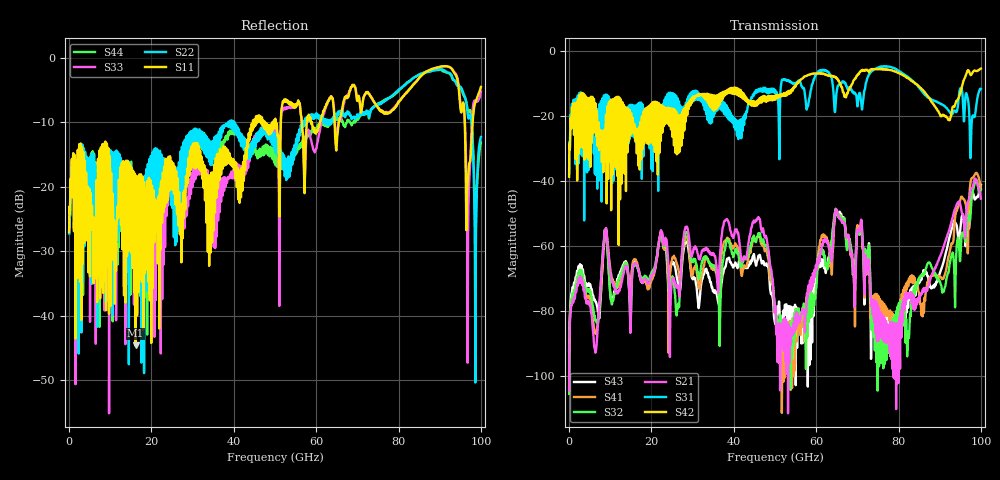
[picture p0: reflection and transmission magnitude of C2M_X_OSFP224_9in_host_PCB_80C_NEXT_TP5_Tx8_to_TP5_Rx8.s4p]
# GHz S RI R 45
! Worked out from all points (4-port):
!   4000 points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, 25 MHz to 100 GHz, reference 45 ohm
!   strongest paths, dB at 25 MHz, 25.02 GHz, 50.02 GHz, 75.03 GHz, 100 GHz:
!     S42: -38.7, -19.7, -14.0, -5.6, -5.4
!     S31: -37.8, -15.4, -12.1, -5.0, -11.6
!     S21: -104.6, -70.9, -79.9, -83.3, -45.4
!     S32: -105.6, -69.9, -80.6, -82.1, -42.7
!     S41: -101.0, -64.1, -80.0, -77.6, -42.4
!     S43: -92.4, -65.3, -84.0, -78.9, -41.2
!   lowest |S11| = -44.6 dB at 16.15 GHz (marker M1), VSWR 1.01, Z = 44.5 - j0.054 ohm
!   |S11| at or under -10 dB: start of sweep to 44.63 GHz; 58.96 GHz to 60.91 GHz (1.943 GHz wide, 3.24 % of centre); 96.08 GHz to 98 GHz (1.928 GHz wide, 1.99 % of centre) (the widest 3 of 16)
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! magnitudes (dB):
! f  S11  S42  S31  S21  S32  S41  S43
! 25 MHz  -27.0  -38.7  -37.8  -104.6  -105.6  -101.0  -92.4
! 16.15 GHz  -44.6  -25.7  -22.1  -65.2  -65.8  -64.2  -65.1
! 45.92 GHz  -10.0  -15.3  -12.5  -51.2  -56.3  -56.9  -63.3
! 57.1 GHz  -19.5  -7.8  -11.8  -80.3  -79.4  -83.9  -87.0
! 65.1 GHz  -12.4  -8.4  -11.6  -49.2  -49.4  -49.3  -50.4
! 85.75 GHz  -2.7  -11.8  -12.4  -74.4  -69.1  -78.7  -68.6
! 100 GHz  -4.6  -5.4  -11.6  -45.4  -42.7  -42.4  -41.2
